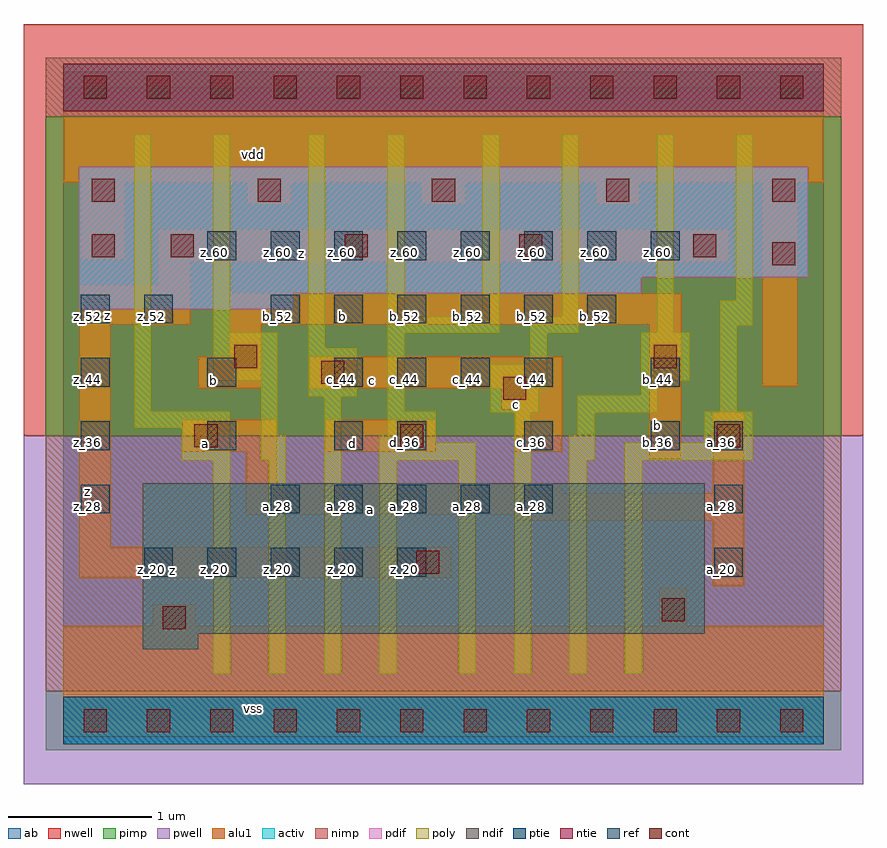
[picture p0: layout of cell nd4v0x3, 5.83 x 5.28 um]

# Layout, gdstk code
import gdstk
lib = gdstk.Library(unit=1e-6, precision=2.5e-09)
def R(c, l, rs):  # rectangles x0, y0, x1, y1
    for r in rs: c.add(gdstk.rectangle(r[:2], r[2:], *l))
def A(c, l, x, y, w, h, nx, ny, dx, dy):  # array of equal rectangles
    R(c, l, [(x+i*dx, y+j*dy, x+i*dx+w, y+j*dy+h) for i in range(nx) for j in range(ny)])
ndif = (3, 0)
pdif = (4, 0)
ntie = (5, 0)
ptie = (6, 0)
ref = (24, 0)
cont = (25, 0)
pwell = (41, 0)
nwell = (42, 0)
activ = (43, 0)
pimp = (44, 0)
nimp = (45, 0)
poly = (46, 0)
alu1 = (49, 0)
ab = (63, 0)

nd4v0x3 = lib.new_cell('nd4v0x3')
R(nd4v0x3, ndif, [(0.55,0.495,0.935,0.605), (0.55,0.605,4.455,1.65)])
R(nd4v0x3, pdif, [(0.11,2.86,1.595,2.97), (0.11,2.97,4.015,3.08), (0.11,3.08,5.17,3.85)])
R(nd4v0x3, ntie, [(0,4.235,5.28,4.565)])
R(nd4v0x3, ptie, [(0,-0.165,5.28,0.165)])
A(nd4v0x3, ref, 0.56, 1, 0.2, 0.2, 5, 1, 0.44, 0)
A(nd4v0x3, ref, 4.52, 1, 0.2, 0.2, 1, 3, 0, 0.44)
A(nd4v0x3, ref, 1.44, 1.44, 0.2, 0.2, 5, 1, 0.44, 0)
A(nd4v0x3, ref, 0.12, 1.88, 0.2, 0.2, 3, 2, 0.88, 0.44)
A(nd4v0x3, ref, 2.32, 1.88, 0.2, 0.2, 3, 1, 0.88, 0)
A(nd4v0x3, ref, 2.32, 2.32, 0.2, 0.2, 3, 1, 0.44, 0)
A(nd4v0x3, ref, 1.44, 2.76, 0.2, 0.2, 6, 1, 0.44, 0)
A(nd4v0x3, ref, 1, 3.2, 0.2, 0.2, 8, 1, 0.44, 0)
R(nd4v0x3, ref, [(0.12,1.44,0.32,1.64), (4.08,2.32,4.28,2.52), (0.12,2.76,0.32,2.96), (0.56,2.76,0.76,2.96)])
A(nd4v0x3, cont, 0.14, -0.08, 0.16, 0.16, 12, 2, 0.44, 4.4)
A(nd4v0x3, cont, 0.745, 3.22, 0.16, 0.16, 4, 1, 1.21, 0)
A(nd4v0x3, cont, 1.35, 3.605, 0.16, 0.16, 3, 1, 1.21, 0)
R(nd4v0x3, cont, [(0.69,0.635,0.85,0.795), (4.155,0.69,4.315,0.85), (2.45,1.02,2.61,1.18), (0.91,1.9,1.07,2.06), (2.34,1.9,2.5,2.06), (4.54,1.9,4.7,2.06), (3.055,2.23,3.215,2.39), (1.79,2.34,1.95,2.5), (1.185,2.45,1.345,2.61), (4.1,2.45,4.26,2.61), (4.925,3.165,5.085,3.325), (0.195,3.22,0.355,3.38), (0.195,3.605,0.355,3.765), (4.925,3.605,5.085,3.765)])
R(nd4v0x3, pwell, [(-0.275,-0.44,5.555,1.98)])
R(nd4v0x3, nwell, [(-0.275,1.98,5.555,4.84)])
R(nd4v0x3, activ, [(0,-0.165,5.28,0.165), (0.55,0.495,0.935,0.605), (0.55,0.605,4.455,1.65), (0.11,2.86,1.595,2.97), (0.11,2.97,4.015,3.08), (0.11,3.08,5.17,3.85), (0,4.235,5.28,4.565)])
R(nd4v0x3, pimp, [(-0.125,-0.205,5.405,0.205), (-0.125,1.98,5.405,4.195)])
R(nd4v0x3, nimp, [(-0.125,0.205,5.405,1.98), (-0.125,4.195,5.405,4.605)])
R(nd4v0x3, poly, [(1.04,0.325,1.16,1.81), (1.425,0.325,1.545,1.81), (1.81,0.325,1.93,2.25), (2.195,0.325,2.315,1.81), (2.745,0.325,2.865,1.81), (3.13,0.325,3.25,2.14), (3.515,0.325,3.635,1.81), (3.9,0.325,4.02,1.81), (0.82,1.81,1.16,2.03), (1.37,1.81,1.545,1.985), (2.195,1.81,2.865,1.93), (3.515,1.81,3.69,1.985), (3.9,1.81,4.79,1.93), (2.195,1.93,2.59,1.985), (4.45,1.93,4.79,2.15), (1.37,1.985,1.49,2.36), (2.25,1.985,2.59,2.15), (3.57,1.985,3.69,2.14), (0.49,2.03,1.16,2.15), (2.965,2.14,3.305,2.305), (3.57,2.14,4.13,2.26), (0.49,2.15,0.61,4.075), (2.25,2.15,2.37,2.69), (4.56,2.15,4.68,2.745), (1.7,2.25,2.04,2.59), (4.01,2.26,4.13,2.36), (2.965,2.305,3.36,2.48), (1.04,2.36,1.49,2.7), (4.01,2.36,4.35,2.7), (3.24,2.48,3.36,2.69), (1.7,2.59,1.82,4.075), (2.25,2.69,3.03,2.81), (3.24,2.69,3.58,2.81), (1.04,2.7,1.16,4.075), (4.12,2.7,4.24,4.075), (4.56,2.745,4.79,2.92), (2.25,2.81,2.37,4.075), (2.91,2.81,3.03,4.075), (3.46,2.81,3.58,4.075), (4.67,2.92,4.79,4.075)])
A(nd4v0x3, alu1, 1.28, 3.59, 0.3, 0.15, 3, 1, 1.21, 0)
R(nd4v0x3, alu1, [(0,-0.11,5.28,0.66), (0.62,0.66,0.92,0.81), (4.14,0.66,4.33,0.92), (4.51,0.935,4.73,1.39), (0.11,0.99,2.695,1.21), (0.11,1.21,0.33,2.75), (3.15,1.39,4.73,1.43), (1.265,1.43,4.73,1.58), (1.265,1.58,3.465,1.65), (4.51,1.58,4.73,2.145), (1.265,1.65,1.485,1.87), (4.07,1.815,4.29,2.75), (0.825,1.87,1.485,2.09), (1.815,1.87,2.585,2.09), (3.135,1.87,3.465,2.16), (3.04,2.16,3.465,2.31), (0.935,2.31,1.375,2.53), (1.705,2.31,3.465,2.53), (4.855,2.325,5.1,3.74), (1.155,2.53,1.375,2.75), (0.11,2.75,0.88,3.025), (1.155,2.75,4.29,2.97), (0.66,3.025,0.88,3.19), (0.66,3.19,4.62,3.41), (0.125,3.205,0.425,3.74), (0,3.74,5.28,4.51)])
R(nd4v0x3, ab, [(0,0,5.28,4.4)])
nd4v0x3.add(gdstk.Label('vss', (1.32,0.0825), layer=49, texttype=0))
nd4v0x3.add(gdstk.Label('z', (0.755,1.045), layer=49, texttype=0))
nd4v0x3.add(gdstk.Label('a', (2.13,1.4675), layer=49, texttype=0))
nd4v0x3.add(gdstk.Label('b', (4.125,2.0475), layer=49, texttype=0))
nd4v0x3.add(gdstk.Label('d', (2.0075,1.925), layer=49, texttype=0))
nd4v0x3.add(gdstk.Label('a', (0.99,1.925), layer=49, texttype=0))
nd4v0x3.add(gdstk.Label('c', (3.145,2.1975), layer=49, texttype=0))
nd4v0x3.add(gdstk.Label('c', (2.145,2.365), layer=49, texttype=0))
nd4v0x3.add(gdstk.Label('b', (1.045,2.365), layer=49, texttype=0))
nd4v0x3.add(gdstk.Label('z', (0.165,1.595), layer=49, texttype=0))
nd4v0x3.add(gdstk.Label('b', (1.9375,2.805), layer=49, texttype=0))
nd4v0x3.add(gdstk.Label('z', (0.3025,2.8175), layer=49, texttype=0))
nd4v0x3.add(gdstk.Label('z', (1.65,3.245), layer=49, texttype=0))
nd4v0x3.add(gdstk.Label('vdd', (1.32,3.9325), layer=49, texttype=0))
nd4v0x3.add(gdstk.Label('z_20', (0.61,1.05), layer=24, texttype=0))
nd4v0x3.add(gdstk.Label('z_52', (0.61,2.81), layer=24, texttype=0))
nd4v0x3.add(gdstk.Label('z_20', (1.05,1.05), layer=24, texttype=0))
nd4v0x3.add(gdstk.Label('a_36', (1.05,1.93), layer=24, texttype=0))
nd4v0x3.add(gdstk.Label('b_44', (1.05,2.37), layer=24, texttype=0))
nd4v0x3.add(gdstk.Label('z_60', (1.05,3.25), layer=24, texttype=0))
nd4v0x3.add(gdstk.Label('z_20', (1.49,1.05), layer=24, texttype=0))
nd4v0x3.add(gdstk.Label('a_28', (1.49,1.49), layer=24, texttype=0))
nd4v0x3.add(gdstk.Label('b_52', (1.49,2.81), layer=24, texttype=0))
nd4v0x3.add(gdstk.Label('z_60', (1.49,3.25), layer=24, texttype=0))
nd4v0x3.add(gdstk.Label('z_20', (1.93,1.05), layer=24, texttype=0))
nd4v0x3.add(gdstk.Label('a_28', (1.93,1.49), layer=24, texttype=0))
nd4v0x3.add(gdstk.Label('d_36', (1.93,1.93), layer=24, texttype=0))
nd4v0x3.add(gdstk.Label('c_44', (1.93,2.37), layer=24, texttype=0))
nd4v0x3.add(gdstk.Label('b_52', (1.93,2.81), layer=24, texttype=0))
nd4v0x3.add(gdstk.Label('z_60', (1.93,3.25), layer=24, texttype=0))
nd4v0x3.add(gdstk.Label('z_28', (0.17,1.49), layer=24, texttype=0))
nd4v0x3.add(gdstk.Label('z_36', (0.17,1.93), layer=24, texttype=0))
nd4v0x3.add(gdstk.Label('z_44', (0.17,2.37), layer=24, texttype=0))
nd4v0x3.add(gdstk.Label('z_52', (0.17,2.81), layer=24, texttype=0))
nd4v0x3.add(gdstk.Label('z_20', (2.37,1.05), layer=24, texttype=0))
nd4v0x3.add(gdstk.Label('a_28', (2.37,1.49), layer=24, texttype=0))
nd4v0x3.add(gdstk.Label('d_36', (2.37,1.93), layer=24, texttype=0))
nd4v0x3.add(gdstk.Label('c_44', (2.37,2.37), layer=24, texttype=0))
nd4v0x3.add(gdstk.Label('b_52', (2.37,2.81), layer=24, texttype=0))
nd4v0x3.add(gdstk.Label('z_60', (2.37,3.25), layer=24, texttype=0))
nd4v0x3.add(gdstk.Label('a_28', (2.81,1.49), layer=24, texttype=0))
nd4v0x3.add(gdstk.Label('c_44', (2.81,2.37), layer=24, texttype=0))
nd4v0x3.add(gdstk.Label('b_52', (2.81,2.81), layer=24, texttype=0))
nd4v0x3.add(gdstk.Label('z_60', (2.81,3.25), layer=24, texttype=0))
nd4v0x3.add(gdstk.Label('a_28', (3.25,1.49), layer=24, texttype=0))
nd4v0x3.add(gdstk.Label('c_36', (3.25,1.93), layer=24, texttype=0))
nd4v0x3.add(gdstk.Label('c_44', (3.25,2.37), layer=24, texttype=0))
nd4v0x3.add(gdstk.Label('b_52', (3.25,2.81), layer=24, texttype=0))
nd4v0x3.add(gdstk.Label('z_60', (3.25,3.25), layer=24, texttype=0))
nd4v0x3.add(gdstk.Label('b_52', (3.69,2.81), layer=24, texttype=0))
nd4v0x3.add(gdstk.Label('z_60', (3.69,3.25), layer=24, texttype=0))
nd4v0x3.add(gdstk.Label('b_36', (4.13,1.93), layer=24, texttype=0))
nd4v0x3.add(gdstk.Label('b_44', (4.13,2.37), layer=24, texttype=0))
nd4v0x3.add(gdstk.Label('z_60', (4.13,3.25), layer=24, texttype=0))
nd4v0x3.add(gdstk.Label('a_20', (4.57,1.05), layer=24, texttype=0))
nd4v0x3.add(gdstk.Label('a_28', (4.57,1.49), layer=24, texttype=0))
nd4v0x3.add(gdstk.Label('a_36', (4.57,1.93), layer=24, texttype=0))

lib.write_gds('nd4v0x3.gds')
